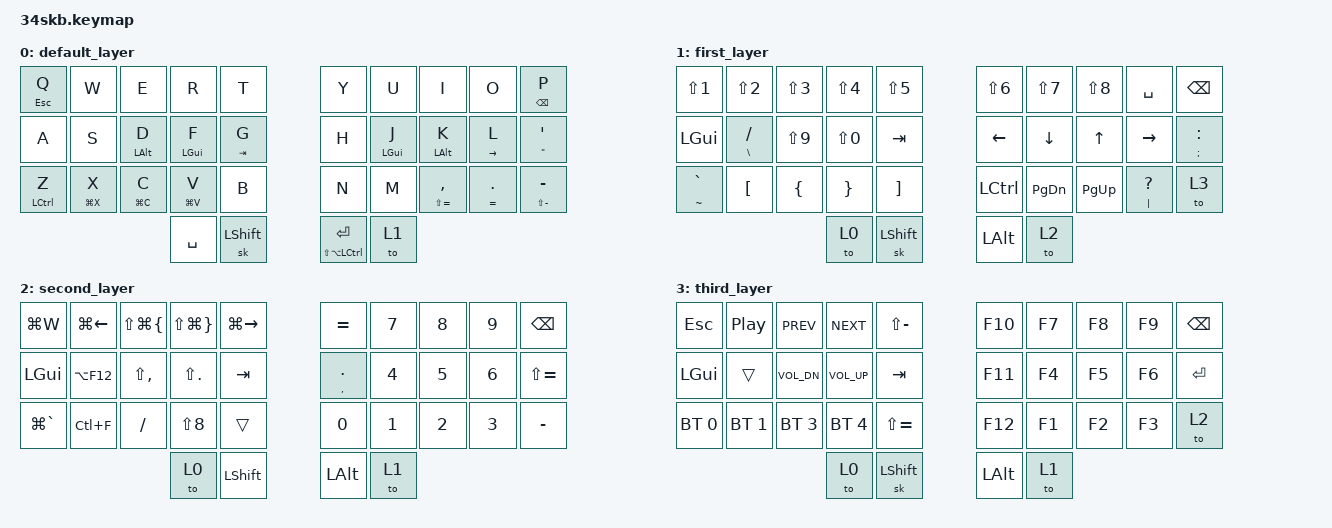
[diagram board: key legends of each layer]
/*
 * Copyright (c) 2020 The ZMK Contributors
 *
 * SPDX-License-Identifier: MIT
 */

#include <behaviors.dtsi>
#include <dt-bindings/zmk/keys.h>
#include <dt-bindings/zmk/bt.h>


&mt {
  tapping-term-ms = <200>;
  flavor = "tap-preferred";
};

/ { 
    combos {
        compatible = "zmk,combos";
        combo_esc {
          timeout-ms = <50>;
          key-positions = <0 1>;
          bindings = <&kp ESC>;
        };
         combo_tab {
          timeout-ms = <50>;
          key-positions = <10 11>;
          bindings = <&kp TAB>;
        };
        combo_ralt {
          timeout-ms = <50>;
          key-positions = <17 16>;
          bindings = <&kp RALT>;
        };
        combo_lalt {
          timeout-ms = <50>;
          key-positions = <11 12>;
          bindings = <&kp LALT>;
        };
        combo_lgui {
          timeout-ms = <50>;
          key-positions = <12 13>;
          bindings = <&kp LGUI>;
        };
        combo_rgui {
          timeout-ms = <50>;
          key-positions = <17 18>;
          bindings = <&kp RGUI>;
        };
    };

    keymap {
      compatible = "zmk,keymap";
                
      default_layer {
        bindings = <
          &mt ESC Q  &kp W        &kp E         &kp R         &kp T             &kp Y                 &kp U       &kp I                 &kp O           &mt BSPC P 
          &kp A      &kp S        &mt LALT D    &mt LGUI F    &mt TAB G         &kp H                 &mt LGUI J  &mt LALT K            &mt RIGHT L     &mt DQT SQT
          &mt LCTL Z &mt LG(X) X  &mt LG(C) C   &mt LG(V) V   &kp B             &kp N                 &kp M       &mt LS(EQUAL) COMMA   &mt EQUAL DOT   &mt LS(MINUS) MINUS
                                                &kp SPC       &sk LSHFT         &mt LS(LA(LCTL)) RET  &to 1 
        >;
      };

      first_layer {
        bindings = <
          &kp LS(N1)        &kp LS(N2)  &kp LS(N3)  &kp LS(N4)  &kp LS(N5)      &kp LS(N6) &kp LS(N7) &kp LS(N8) &kp SPC    &kp BSPC 
          &kp LGUI          &mt BSLH SLASH   &kp LS(N9)  &kp LS(N0)  &kp TAB         &kp LEFT   &kp DOWN   &kp UP     &kp RIGHT  &mt SEMI COLON 
          &mt TILDE GRAVE   &kp LBKT    &kp LBRC    &kp RBRC    &kp RBKT        &kp LCTL   &kp PG_DN  &kp PG_UP  &mt PIPE QMARK  &to 3 
                                                    &to 0       &sk LSHFT       &kp LALT   &to 2 
        >;
      };

      second_layer {
        bindings = <
          &kp LG(W)     &kp LG(LEFT) &kp LS(LG(LBRC))  &kp LS(LG(RBRC)) &kp LG(RIGHT)   &kp EQUAL &kp N7 &kp N8 &kp N9 &kp BSPC 
          &kp LGUI      &kp LA(F12)  &kp LS(COMMA)     &kp LS(DOT)      &kp TAB         &mt COMMA DOT   &kp N4 &kp N5 &kp N6 &kp LS(EQUAL)
          &kp LG(GRAVE) &kp LC(F)    &kp SLASH         &kp LS(N8)       &trans          &kp N0    &kp N1 &kp N2 &kp N3 &kp MINUS
                                                       &to 0            &kp LSHFT        &kp LALT  &to 1 
        >;
      };
    
      third_layer {
        bindings = <
          &kp ESC  &kp C_PP &kp C_PREV   &kp C_NEXT   &kp LS(MINUS)   &kp F10  &kp F7 &kp F8 &kp F9 &kp BSPC
          &kp LGUI &trans   &kp C_VOL_DN &kp C_VOL_UP &kp TAB         &kp F11  &kp F4 &kp F5 &kp F6 &kp RET 
          &bt BT_SEL 0 &bt BT_SEL 1 &bt BT_SEL 3 &bt BT_SEL 4 &kp LS(EQUAL)   &kp F12  &kp F1 &kp F2 &kp F3 &to 2  
                                         &to 0        &sk LSHFT       &kp LALT &to 1 
        >;
     };
  };
};
